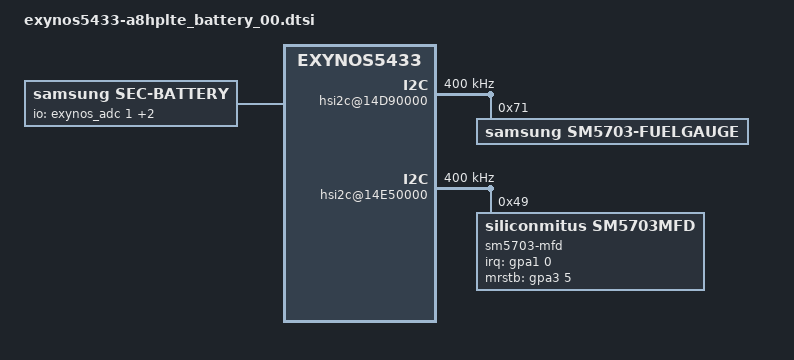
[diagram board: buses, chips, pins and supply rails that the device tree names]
/*
 * SAMSUNG UNIVERSAL5430 board device tree source
 *
 * Copyright (c) 2013 Samsung Electronics Co., Ltd.
 *		http://www.samsung.com
 *
 * This program is free software; you can redistribute it and/or modify
 * it under the terms of the GNU General Public License version 2 as
 * published by the Free Software Foundation.
*/

/ {
	pinctrl@10580000 {
		fuel_irq: fuel-irq {
			samsung,pins = "gpa1-5";
			samsung,pin-function = <0>;
			samsung,pin-pud = <0>;
			samsung,pin-drv = <0>;
		};
		if_pmic_irq: if_pmic_irq {
			samsung,pins = "gpa1-0";
			samsung,pin-function = <0>;
			samsung,pin-pud = <0>;
			samsung,pin-drv = <0>;
		};
	};

	pinctrl@14CA0000 {
		factory_discharging: factory-discharging {
			samsung,pins = "gpj2-2";
			samsung,pin-function = <1>;
			samsung,pin-pud = <0>;
		};
	};
	pinctrl@10580000 {
			chg_en: chg-en {
			samsung,pins = "gpf1-4";
			samsung,pin-function = <1>;
			samsung,pin-pud = <0>;
			samsung,pin-drv = <0>;
		};
	};

	pinctrl@10580000 {
			sm5703_mrstb: sm5703-mrstb {
			samsung,pins = "gpa3-5";
			samsung,pin-function = <2>;
			samsung,pin-pud = <0>;
		};
	};

	hsi2c@14D90000 {
		samsung,hs-mode;
		clock-frequency = <400000>;
		status = "okay";
		sm5703-fuelgauge@71 {
			compatible = "samsung,sm5703-fuelgauge";
			reg = <0x71>;
			pinctrl-names = "default";
			pinctrl-0 = <&fuel_irq>;
			fuelgauge,fuel_int = <&gpa1 5 0>;
			fuelgauge,fuel_alert_soc = <2>;
			fuelgauge,capacity_max = <990>;
			fuelgauge,capacity_max_margin = <50>;
			fuelgauge,capacity_min = <0>;
			fuelgauge,capacity_calculation_type = <12>;
			fuelgauge,low_temp_compensate_a8ve; /*use new algorithm*/
			fuelgauge,type_str = "SDI";
		};
	};

	battery_params {
		battery,id = <0>; /* -1 means auto, detected by F/G */
		battery0,battery_type = <4350>; /* 4200 4350 4400 */
		battery0,battery_table0 = <0x1400 0x1B33 0x1C9B 0x1D60 0x1D83 0x1DD4 0x1E12 0x1E73 0x1ECA 0x1F09 0x1F78 0x1FD5 0x2090 0x20F8 0x22CC 0x2400>;
		battery0,battery_table1 = <0x1400 0x1B33 0x1C9B 0x1D60 0x1D83 0x1DD4 0x1E12 0x1E73 0x1ECA 0x1F09 0x1F78 0x1FD5 0x2090 0x20F8 0x22CC 0x2400>;
		battery0,battery_table2 = <0x00 0x38 0x5E 0xBB 0x1F4 0x3A9 0x57D 0x926 0xB97 0xCCF 0xE07 0xF40 0x11B0 0x12E9 0x1866 0x186C>;
		battery0,temp_std = <25>;
		battery0,temp_offset = <10>;
		battery0,temp_offset_cal = <0x01>;
		battery0,charge_offset_cal = <(-0x03)>;
		battery0,rce_value = <0x0749 0x0580 0x371>;
		battery0,dtcd_value = <0x1>;
		battery0,rs_value = <0x1ae 0x47a 0x3800 0x00a4>; /*rs mix_factor max min*/
		battery0,vit_period = <0x350a>;
		battery0,mix_value = <0x0503 0x0004>; /*mix_rate init_blank*/
		battery0,topoff_soc = <0x0 0x5>; /*enable soc*/
		battery0,volt_cal = <0x80A9>;
		battery0,curr_cal = <0x7687>;
		battery0,tem_poff = <3380 70 3280 70>;
	};

	battery {
		status = "okay";

		pinctrl-names = "default";
		pinctrl-0 = <&factory_discharging>;

		battery,factory_discharging = <&gpj2 2 0>;

		compatible = "samsung,sec-battery";
		battery,vendor = "SDI SDI";
		battery,charger_name = "sm5703-charger";
		battery,fuelgauge_name = "sm5703-fuelgauge";
		battery,technology = <2>; /* POWER_SUPPLY_TECHNOLOGY_LION */
		/* .temp_cohot = -1000; */
		/* .temp_cocold = -4325; */

		battery,chip_vendor = "LSI";
		battery,temp_adc_type = <1>; /* SEC_BATTERY_ADC_TYPE_AP */

		battery,polling_time = <10 30 30 30 3600>;

		battery,temp_table_adc = <534 622 641 662 683 708 729 755 780 800
			828 853 879 900 933 960 997 1167 1356 1565
			1780 2000 2240 2470 2710 2930 2970 3015 3070 3126
			3151 3195 3224 3261 3295 3307 3354 3400 3428 3455
			3480 3625>;


		battery,temp_table_data = <699 650 641 630 620 608 601 592 583 575
			565 553 543 534 524 515 503 451 398 348
			296 248 193 137 91 40 29 17 4 (-10) (-17)
			(-30) (-40) (-52) (-63) (-67) (-83) (-100) (-111) (-122)
			(-132) (-150)>;

		battery,input_current_limit = <1750 0 0 1750 500 900 1000 500 1000 0 760 1900 1800 0 1400 400 700 1300 300 1000 1600>;
		battery,fast_charging_current = <2100 0 0 2100 750 1200 1000 750 1200 0 900 1600 2100 0 1400 400 700 1300 300 1000 1900>;
		battery,full_check_current_1st = <200 0 0 200 200 200 200 200 200 0 200 200 200 0 200 200 200 200 200 200 200>;
		battery,full_check_current_2nd = <100 0 0 100 100 100 100 100 100 0 100 100 100 0 100 100 100 100 100 100 100>;

		battery,inbat_voltage = <1>;
		battery,inbat_voltage_table_adc = <2661 2620 2600 2586 2566 2536 2513 2486 2461 2431
						2403 2373 2360 2334 2301 2273 2245 2224 2200 2167 2137>;
		battery,inbat_voltage_table_data = <438 435 430 425 420 415 410 405 400 395
						390 385 380 375 370 365 360 355 350 345 340>;

		battery,adc_check_count = <5>;

		battery,cable_check_type = <4>; /* SEC_BATTERY_CABLE_CHECK_PSY */
		battery,cable_source_type = <1>; /* SEC_BATTERY_CABLE_SOURCE_EXTERNAL */
		battery,event_waiting_time = <600>;
		battery,polling_type = <1>; /* SEC_BATTERY_MONITOR_ALARM */
		battery,monitor_initial_count = <0>;

		battery,battery_check_type = <0>; /* SEC_BATTERY_CHECK_CHARGER */
		battery,check_count = <0>;
		battery,check_adc_max = <1440>;
		battery,check_adc_min = <0>;

		battery,ovp_uvlo_check_type = <3>; /* SEC_BATTERY_OVP_UVLO_CHGPOLLING */

		battery,thermal_source = <2>; /* SEC_BATTERY_THERMAL_SOURCE_ADC */

		battery,temp_check_type = <2>; /* SEC_BATTERY_TEMP_CHECK_TEMP */
		battery,temp_check_count = <1>;
		battery,temp_highlimit_threshold_event = <800>;
		battery,temp_highlimit_recovery_event = <750>;
		battery,temp_high_threshold_event = <580>;
		battery,temp_high_recovery_event = <530>;
		battery,temp_low_threshold_event = <(-50)>;
		battery,temp_low_recovery_event = <0>;
		battery,temp_highlimit_threshold_normal = <800>;
		battery,temp_highlimit_recovery_normal = <750>;
		battery,temp_high_threshold_normal = <580>;
		battery,temp_high_recovery_normal = <530>;
		battery,temp_low_threshold_normal = <(-50)>;
		battery,temp_low_recovery_normal = <0>;
		battery,temp_highlimit_threshold_lpm = <800>;
		battery,temp_highlimit_recovery_lpm = <750>;
		battery,temp_high_threshold_lpm = <580>;
		battery,temp_high_recovery_lpm = <530>;
		battery,temp_low_threshold_lpm = <(-50)>;
		battery,temp_low_recovery_lpm = <0>;
		battery,full_check_type = <7>; /* SEC_BATTERY_FULLCHARGED_CHGPSY */
		battery,full_check_type_2nd = <7>; /* SEC_BATTERY_FULLCHARGED_CHGPSY */
		battery,full_check_count = <1>;
		battery,chg_gpio_full_check = <0>;
		battery,chg_polarity_full_check = <1>;

		/* SEC_BATTERY_FULL_CONDITION_SOC |
		   SEC_BATTERY_FULL_CONDITION_NOTIMEFULL |
		   SEC_BATTERY_FULL_CONDITION_VCELL */
		battery,full_condition_type = <13>;
		battery,full_condition_soc = <93>;
		battery,full_condition_vcell = <4300>;

		battery,recharge_check_count = <2>;
		battery,recharge_condition_type = <4>; /* SEC_BATTERY_RECHARGE_CONDITION_VCELL */
		battery,recharge_condition_soc = <98>;
		battery,recharge_condition_vcell = <4350>;

		battery,charging_total_time = <21600>;
		battery,recharging_total_time = <5400>;
		battery,charging_reset_time = <0>;

		battery,always_enable;

		io-channels = <&exynos_adc 1>, <&exynos_adc 7>, <&exynos_adc 3>;
		io-channel-names = "adc-temp", "in-bat-adc", "discharging-check-adc";
		#io-channel-cells = <1>;
		io-channel-ranges;

		battery,chg_float_voltage = <4390>;

		battery,self_discharging_en;
		battery,force_discharging_limit = <650>;
		battery,force_discharging_recov = <550>;
		battery,self_discharging_voltage_limit = <4250>;
		battery,discharging_adc_max = <2600>;
		battery,discharging_adc_min = <1700>;
		battery,discharging_ntc_limit = <2750>;
		battery,swelling_high_temp_block = <500>;
		battery,swelling_high_temp_recov = <450>;
		battery,swelling_low_temp_block = <50>;
		battery,swelling_low_temp_recov = <100>;
		battery,swelling_chg_current = <1300>;
		battery,swelling_topoff_current = <175>;
		battery,swelling_drop_float_voltage = <4200>;
		battery,swelling_high_rechg_voltage = <4150>;
		battery,swelling_low_rechg_voltage = <4050>;
		battery,swelling_block_time = <600>;
	};

	hsi2c@14E50000 {
		samsung,hs-mode;
		clock-frequency = <400000>;
		status = "okay";

		sm5703-mfd@49 {
			compatible = "siliconmitus,sm5703mfd";
			reg = <0x49>;
			pinctrl-names = "default";
			pinctrl-0 = <&chg_en &if_pmic_irq &sm5703_mrstb>;
			sm5703,irq-gpio = <&gpa1 0 0>;
			sm5703,mrstb-gpio = <&gpa3 5 0>;

			sm5703_fled {
				compatible = "siliconmitus,sm5703-fled";
				enable = <1 1>;
				flash_current = <1200>;
				movie_current = <150>;
				sm5703,led1-gpio = <&gpc0 1 0>;
				sm5703,led2-gpio = <&gpc0 2 0>;
				pinctrl-names = "fled_default","fled_sleep";
				pinctrl-0 = <&fled_flash_active>;
				pinctrl-1 = <&fled_flash_sleep>;
			};
		};
	};

	charger {
		status = "disable";
		compatible = "siliconmitus,sm5703-charger";

		/* Charger */
		battery,charger_name = "sm5703-charger";
		battery,chg_gpio_en = <&gpf1 4 0>;
		battery,chg_polarity_en = <0>;
		battery,chg_gpio_status = <0>;
		battery,chg_polarity_status = <0>;
		battery,chg_float_voltage = <4390>;
		chg_autostop = <1>;
		chg_autoset = <1>;
		chg_aiclen = <1>;
		chg_aiclth = <4300>;
		fg_vol_val = <4350>;
		fg_soc_val = <95>;
		fg_curr_avr_val = <150>;
		bst_iq3limit = <1>;
	};
};
